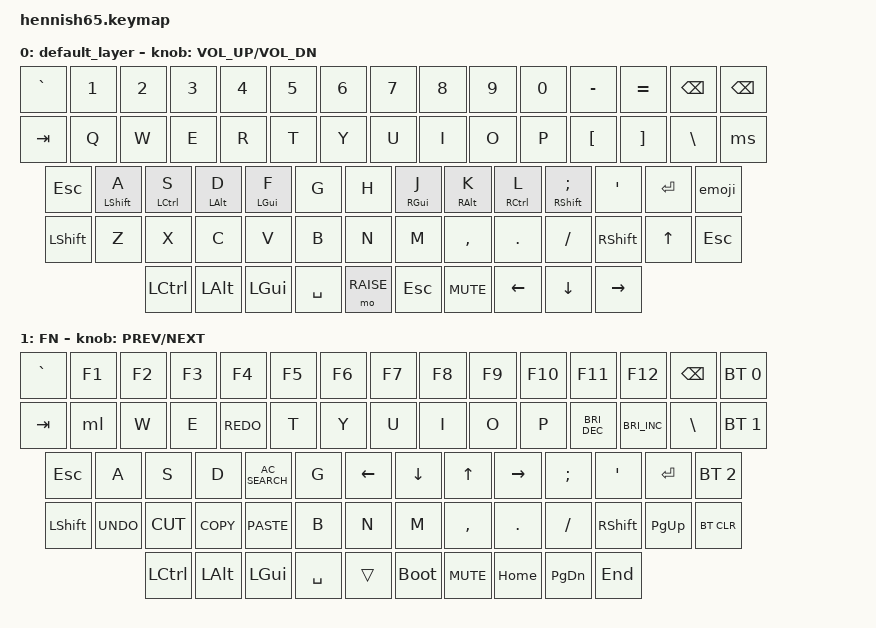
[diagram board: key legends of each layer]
#include <behaviors.dtsi>
#include <dt-bindings/zmk/keys.h>
#include <dt-bindings/zmk/bt.h>
#include <dt-bindings/zmk/outputs.h>
#include <dt-bindings/zmk/rgb.h>
#include <dt-bindings/zmk/ext_power.h>

#define DEFAULT 0
#define RAISE   1

/{
    macros {
        ms: ms {
            label = "mac screenshot";
            compatible = "zmk,behavior-macro";
            #binding-cells = <0>;
            bindings
                = <&macro_press &kp LSHFT>
		        , <&macro_press &kp LGUI>
		        , <&macro_press &kp LCTRL>
                , <&macro_tap &kp N4>
                , <&macro_release &kp LSHFT &kp LGUI &kp LCTRL>
                ;
        };
        ml: ml {
            label = "mac lock";
            compatible = "zmk,behavior-macro";
            #binding-cells = <0>;
            bindings
                = <&macro_press &kp LGUI>
		        , <&macro_press &kp LCTRL>
                , <&macro_tap &kp Q>
                , <&macro_release &kp LGUI &kp LCTRL>
                ;
        };
        emoji: emoji {
            label = "mac emoji";
            compatible = "zmk,behavior-macro";
            #binding-cells = <0>;
            bindings
                = <&macro_press &kp LGUI>
		        , <&macro_press &kp LCTRL>
                , <&macro_tap &kp SPACE>
                , <&macro_release &kp LGUI &kp LCTRL>
                ;
        };
    };
    
    keymap {
        compatible = "zmk,keymap";

        default_layer {
            bindings = <
&kp GRAVE  &kp N1  &kp N2  &kp N3  &kp N4  &kp N5  &kp N6  &kp N7  &kp N8  &kp N9  &kp N0  &kp MINUS  &kp EQUAL  &kp BSPC &kp BSPC
&kp TAB  &kp Q  &kp W  &kp E  &kp R  &kp T  &kp Y  &kp U  &kp I  &kp O  &kp P  &kp LBKT  &kp RBKT &kp BSLH &ms
&kp ESC  &mt LSHFT A  &mt LCTRL S  &mt LALT D  &mt LGUI F  &kp G  &kp H  &mt RGUI J  &mt RALT K  &mt RCTRL L  &mt RSHFT SEMI  &kp SQT  &kp ENTER  &emoji
&kp LSHFT  &kp Z  &kp X  &kp C  &kp V  &kp B  &kp N  &kp M  &kp COMMA  &kp DOT  &kp FSLH  &kp RSHFT  &kp UP  &kp ESC
&kp LCTRL  &kp LALT  &kp LGUI      &kp SPACE      &mo RAISE  &kp ESC  &kp C_MUTE  &kp LEFT  &kp DOWN  &kp RIGHT
            >;
            sensor-bindings = <&inc_dec_kp C_VOL_UP C_VOL_DN>;
        };

        FN {
            bindings = <
&kp GRAVE  &kp F1 &kp F2  &kp F3 &kp F4 &kp F5  &kp F6  &kp F7  &kp F8  &kp F9 &kp F10  &kp F11  &kp F12  &kp BSPC &bt BT_SEL 0
&kp TAB  &ml  &kp W  &kp E  &kp K_REDO  &kp T  &kp Y  &kp U  &kp I  &kp O  &kp P  &kp C_BRI_DEC  &kp C_BRI_INC &kp BSLH &bt BT_SEL 1
&kp ESC  &kp A  &kp S  &kp D  &kp C_AC_SEARCH  &kp G  &kp LEFT  &kp DOWN  &kp UP  &kp RIGHT  &kp SEMI &kp SQT  &kp ENTER  &bt BT_SEL 2
&kp LSHFT  &kp K_UNDO  &kp K_CUT  &kp K_COPY  &kp K_PASTE  &kp B  &kp N  &kp M  &kp COMMA  &kp DOT  &kp FSLH  &kp RSHFT &kp PAGE_UP  &bt  BT_CLR
&kp LCTRL  &kp LALT  &kp LGUI      &kp SPACE      &trans  &bootloader  &kp C_MUTE  &kp HOME  &kp PAGE_DOWN  &kp END
            >;
            sensor-bindings = <&inc_dec_kp C_PREV C_NEXT>;
        };
    };
};

